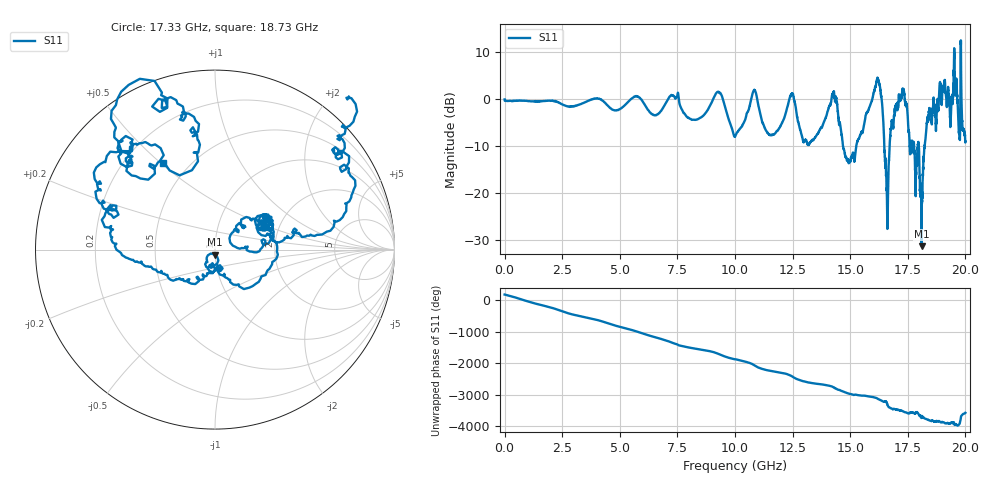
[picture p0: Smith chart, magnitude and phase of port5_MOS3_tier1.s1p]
! Created with skrf 1.8.0 (http://scikit-rf.org).
# GHz S RI R 50.0
!freq ReS11 ImS11
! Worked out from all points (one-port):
!   10001 points, 1 MHz to 20 GHz, reference 50 ohm
!   lowest |S11| = -31.2 dB at 18.1 GHz (marker M1), VSWR 1.06, Z = 49.7 - j2.72 ohm
!   |S11| at or under -10 dB: 14.69 GHz to 15.26 GHz (575.8 MHz wide, 3.84 % of centre); 16.48 GHz to 16.71 GHz (233.3 MHz wide, 1.41 % of centre); 17.97 GHz to 18.23 GHz (258.2 MHz wide, 1.43 % of centre) (the widest 3 of 11)
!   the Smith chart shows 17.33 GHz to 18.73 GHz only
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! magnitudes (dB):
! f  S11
! 1 MHz  -0.1
! 2.501 GHz  -1.1
! 5.001 GHz  -2.1
! 7.501 GHz  0.8
! 8.287 GHz  -4.4
! 9.317 GHz  1.3
! 10 GHz  -8.0
! 10.82 GHz  1.9
! 11.55 GHz  -7.6
! 12.5 GHz  1.1
! 13.2 GHz  -9.6
! 14.3 GHz  1.3
! 14.77 GHz  -11.6
! 15 GHz  -13.1
! 16.17 GHz  4.3
! 16.36 GHz  0.2
! 16.59 GHz  -19.3
! 16.8 GHz  -4.5
! 17.03 GHz  -1.2
! 17.3 GHz  1.7
! 17.5 GHz  -4.0
! 18.1 GHz  -31.2
! 18.38 GHz  -4.1
! 18.96 GHz  -0.7
! 19.37 GHz  -3.9
! 19.57 GHz  1.6
! 19.67 GHz  -2.0
! 20 GHz  -9.0
